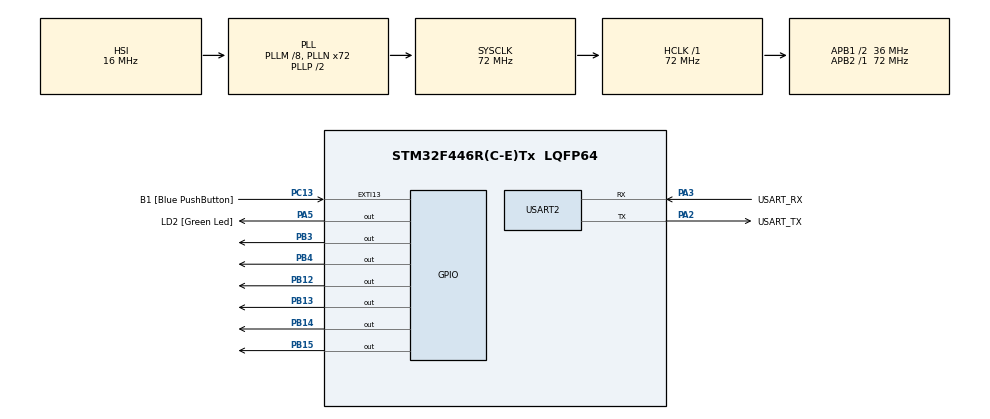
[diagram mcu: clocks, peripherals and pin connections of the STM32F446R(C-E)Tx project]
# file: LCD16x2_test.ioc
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Mcu.Family=STM32F4
Mcu.Name=STM32F446R(C-E)Tx
Mcu.Package=LQFP64
NVIC.PriorityGroup=NVIC_PRIORITYGROUP_0
PA13.GPIO_Label=TMS
PA13.Mode=Serial_Wire
PA13.Signal=SYS_JTMS-SWDIO
PA14.GPIO_Label=TCK
PA14.Mode=Serial_Wire
PA14.Signal=SYS_JTCK-SWCLK
PA2.GPIO_Label=USART_TX
PA2.Mode=Asynchronous
PA2.Signal=USART2_TX
PA3.GPIO_Label=USART_RX
PA3.Mode=Asynchronous
PA3.Signal=USART2_RX
PA5.GPIO_Label=LD2 [Green Led]
PA5.Signal=GPIO_Output
PB12.Signal=GPIO_Output
PB13.Signal=GPIO_Output
PB14.Signal=GPIO_Output
PB15.Signal=GPIO_Output
PB3.Signal=GPIO_Output
PB4.Signal=GPIO_Output
PC13.GPIO_Label=B1 [Blue PushButton]
PC13.GPIO_ModeDefaultEXTI=GPIO_MODE_IT_FALLING
PC13.Signal=GPXTI13
PC14-OSC32_IN.Mode=LSE-External-Oscillator
PC14-OSC32_IN.Signal=RCC_OSC32_IN
PC15-OSC32_OUT.Mode=LSE-External-Oscillator
PC15-OSC32_OUT.Signal=RCC_OSC32_OUT
PH0-OSC_IN.Mode=HSE-External-Oscillator
PH0-OSC_IN.Signal=RCC_OSC_IN
PH1-OSC_OUT.Mode=HSE-External-Oscillator
PH1-OSC_OUT.Signal=RCC_OSC_OUT
ProjectManager.HeapSize=0x200
ProjectManager.StackSize=0x400
ProjectManager.TargetToolchain=STM32CubeIDE
RCC.48MHZClocksFreq_Value=84000000
RCC.AHBFreq_Value=72000000
RCC.APB1CLKDivider=RCC_HCLK_DIV2
RCC.APB1Freq_Value=36000000
RCC.APB1TimFreq_Value=72000000
RCC.APB2Freq_Value=72000000
RCC.APB2TimFreq_Value=72000000
RCC.CortexFreq_Value=72000000
RCC.FLatency-AdvancedSettings=FLASH_LATENCY_2
RCC.HCLKFreq_Value=72000000
RCC.HSE_VALUE=8000000
RCC.HSI_VALUE=16000000
RCC.PLLM=8
RCC.PLLN=72
RCC.SYSCLKFreq_VALUE=72000000
RCC.SYSCLKSource=RCC_SYSCLKSOURCE_PLLCLK
RCC.USBFreq_Value=72000000
RCC.VCOOutputFreq_Value=144000000
USART2.VirtualMode=VM_ASYNC
board=NUCLEO-F446RE

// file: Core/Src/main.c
/* USER CODE BEGIN Header */
/**
  ******************************************************************************
  * @file           : main.c
  * @brief          : Main program body
  ******************************************************************************
  * @attention
  *
  * Copyright (c) 2022 STMicroelectronics.
  * All rights reserved.
  *
  * This software is licensed under terms that can be found in the LICENSE file
  * in the root directory of this software component.
  * If no LICENSE file comes with this software, it is provided AS-IS.
  *
  ******************************************************************************
  */
/* USER CODE END Header */
#include "main.h"

/* USER CODE BEGIN Includes */
#include "LCD16x2.h"
/* USER CODE END Includes */

 UART_HandleTypeDef huart2;

void SystemClock_Config(void);
static void MX_GPIO_Init(void);
static void MX_USART2_UART_Init(void);

int main(void)
{

  /* MCU Configuration--------------------------------------------------------*/

  /* Reset of all peripherals, Initializes the Flash interface and the Systick. */
  HAL_Init();

  /* Configure the system clock */
  SystemClock_Config();

  /* Initialize all configured peripherals */
  MX_GPIO_Init();
  MX_USART2_UART_Init();
  /* USER CODE BEGIN 2 */
  LCD_Init();
  LCD_Clear();
  LCD_Set_Cursor(1, 1);
  LCD_Write_String("  DeepBlue  ");
  LCD_Set_Cursor(2, 1);
  LCD_Write_String("STM32 Course");
  /* USER CODE END 2 */

  /* Infinite loop */
  /* USER CODE BEGIN WHILE */
  while (1)
  {
	  LCD_SR();  HAL_Delay(450);
	  LCD_SR();  HAL_Delay(450);
	  LCD_SR();  HAL_Delay(450);
	  LCD_SR();  HAL_Delay(450);

	  LCD_SL();  HAL_Delay(450);
	  LCD_SL();  HAL_Delay(450);
	  LCD_SL();  HAL_Delay(450);
	  LCD_SL();  HAL_Delay(450);
    /* USER CODE END WHILE */

  }
}

void SystemClock_Config(void)
{
  RCC_OscInitTypeDef RCC_OscInitStruct = {0};
  RCC_ClkInitTypeDef RCC_ClkInitStruct = {0};

  /** Configure the main internal regulator output voltage
  */
  __HAL_RCC_PWR_CLK_ENABLE();
  __HAL_PWR_VOLTAGESCALING_CONFIG(PWR_REGULATOR_VOLTAGE_SCALE3);

  /** Initializes the RCC Oscillators according to the specified parameters
  * in the RCC_OscInitTypeDef structure.
  */
  RCC_OscInitStruct.OscillatorType = RCC_OSCILLATORTYPE_HSI;
  RCC_OscInitStruct.HSIState = RCC_HSI_ON;
  RCC_OscInitStruct.HSICalibrationValue = RCC_HSICALIBRATION_DEFAULT;
  RCC_OscInitStruct.PLL.PLLState = RCC_PLL_ON;
  RCC_OscInitStruct.PLL.PLLSource = RCC_PLLSOURCE_HSI;
  RCC_OscInitStruct.PLL.PLLM = 8;
  RCC_OscInitStruct.PLL.PLLN = 72;
  RCC_OscInitStruct.PLL.PLLP = RCC_PLLP_DIV2;
  RCC_OscInitStruct.PLL.PLLQ = 2;
  RCC_OscInitStruct.PLL.PLLR = 2;
  if (HAL_RCC_OscConfig(&RCC_OscInitStruct) != HAL_OK)
  {
    Error_Handler();
  }

  /** Initializes the CPU, AHB and APB buses clocks
  */
  RCC_ClkInitStruct.ClockType = RCC_CLOCKTYPE_HCLK|RCC_CLOCKTYPE_SYSCLK
                              |RCC_CLOCKTYPE_PCLK1|RCC_CLOCKTYPE_PCLK2;
  RCC_ClkInitStruct.SYSCLKSource = RCC_SYSCLKSOURCE_PLLCLK;
  RCC_ClkInitStruct.AHBCLKDivider = RCC_SYSCLK_DIV1;
  RCC_ClkInitStruct.APB1CLKDivider = RCC_HCLK_DIV2;
  RCC_ClkInitStruct.APB2CLKDivider = RCC_HCLK_DIV1;

  if (HAL_RCC_ClockConfig(&RCC_ClkInitStruct, FLASH_LATENCY_2) != HAL_OK)
  {
    Error_Handler();
  }
}

static void MX_USART2_UART_Init(void)
{

  huart2.Instance = USART2;
  huart2.Init.BaudRate = 115200;
  huart2.Init.WordLength = UART_WORDLENGTH_8B;
  huart2.Init.StopBits = UART_STOPBITS_1;
  huart2.Init.Parity = UART_PARITY_NONE;
  huart2.Init.Mode = UART_MODE_TX_RX;
  huart2.Init.HwFlowCtl = UART_HWCONTROL_NONE;
  huart2.Init.OverSampling = UART_OVERSAMPLING_16;
  if (HAL_UART_Init(&huart2) != HAL_OK)
  {
    Error_Handler();
  }

}

static void MX_GPIO_Init(void)
{
  GPIO_InitTypeDef GPIO_InitStruct = {0};

  /* GPIO Ports Clock Enable */
  __HAL_RCC_GPIOC_CLK_ENABLE();
  __HAL_RCC_GPIOH_CLK_ENABLE();
  __HAL_RCC_GPIOA_CLK_ENABLE();
  __HAL_RCC_GPIOB_CLK_ENABLE();

  /*Configure GPIO pin Output Level */
  HAL_GPIO_WritePin(LD2_GPIO_Port, LD2_Pin, GPIO_PIN_RESET);

  /*Configure GPIO pin Output Level */
  HAL_GPIO_WritePin(GPIOB, GPIO_PIN_12|GPIO_PIN_13|GPIO_PIN_14|GPIO_PIN_15
                          |GPIO_PIN_3|GPIO_PIN_4, GPIO_PIN_RESET);

  /*Configure GPIO pin : B1_Pin */
  GPIO_InitStruct.Pin = B1_Pin;
  GPIO_InitStruct.Mode = GPIO_MODE_IT_FALLING;
  GPIO_InitStruct.Pull = GPIO_NOPULL;
  HAL_GPIO_Init(B1_GPIO_Port, &GPIO_InitStruct);

  /*Configure GPIO pin : LD2_Pin */
  GPIO_InitStruct.Pin = LD2_Pin;
  GPIO_InitStruct.Mode = GPIO_MODE_OUTPUT_PP;
  GPIO_InitStruct.Pull = GPIO_NOPULL;
  GPIO_InitStruct.Speed = GPIO_SPEED_FREQ_LOW;
  HAL_GPIO_Init(LD2_GPIO_Port, &GPIO_InitStruct);

  /*Configure GPIO pins : PB12 PB13 PB14 PB15
                           PB3 PB4 */
  GPIO_InitStruct.Pin = GPIO_PIN_12|GPIO_PIN_13|GPIO_PIN_14|GPIO_PIN_15
                          |GPIO_PIN_3|GPIO_PIN_4;
  GPIO_InitStruct.Mode = GPIO_MODE_OUTPUT_PP;
  GPIO_InitStruct.Pull = GPIO_NOPULL;
  GPIO_InitStruct.Speed = GPIO_SPEED_FREQ_LOW;
  HAL_GPIO_Init(GPIOB, &GPIO_InitStruct);

}

void Error_Handler(void)
{
  __disable_irq();
  while (1)
  {
  }
}
